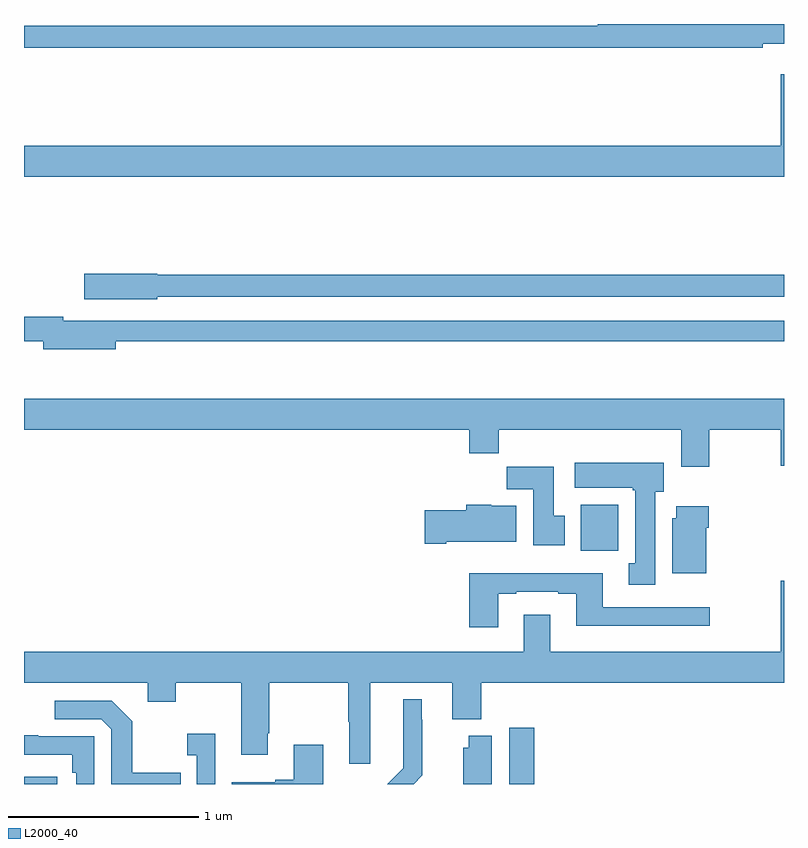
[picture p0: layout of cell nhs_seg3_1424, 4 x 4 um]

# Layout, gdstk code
import gdstk
lib = gdstk.Library(unit=1e-6, precision=1e-09)
def R(c, l, rs):  # rectangles x0, y0, x1, y1
    for r in rs: c.add(gdstk.rectangle(r[:2], r[2:], *l))
def P(c, l, *ps):  # polygons
    for p in ps: c.add(gdstk.Polygon(p, *l))
L2000_40 = (2000, 40)

nhs_seg3_1424 = lib.new_cell('nhs_seg3_1424')
R(nhs_seg3_1424, L2000_40, [(185,684.4,185.176,684.438), (187.553,684.4,187.685,684.697), (187.931,685.628,188.128,685.87)])
P(nhs_seg3_1424, L2000_40, [(188.888,688.295),(189,688.295),(189,688.4),(188.02,688.4),(188.02,688.392),(185,688.392),(185,688.276),(188.888,688.276)],
  [(189,688.135),(188.984,688.135),(188.984,687.76),(185,687.76),(185,687.596),(189,687.596)],
  [(185.7,686.964),(189,686.964),(189,687.08),(185.7,687.08),(185.7,687.086),(185.316,687.086),(185.316,686.951),(185.7,686.951)],
  [(185.482,686.73),(189,686.73),(189,686.838),(185.206,686.838),(185.206,686.858),(185,686.858),(185,686.73),(185.102,686.73),(185.102,686.687),(185.482,686.687)],
  [(185,686.264),(187.343,686.264),(187.343,686.14),(187.499,686.14),(187.499,686.264),(188.459,686.264),(188.459,686.07),(188.607,686.07),(188.607,686.264),(188.984,686.264),(188.984,686.076),(189,686.076),(189,686.428),(185,686.428)],
  [(188.323,685.938),(188.368,685.938),(188.368,686.092),(187.899,686.092),(187.899,685.958),(188.203,685.958),(188.203,685.945),(188.216,685.945),(188.216,685.562),(188.183,685.562),(188.183,685.449),(188.323,685.449)],
  [(187.846,685.812),(187.789,685.812),(187.789,686.071),(187.54,686.071),(187.54,685.952),(187.679,685.952),(187.679,685.656),(187.846,685.656)],
  [(187.222,685.676),(187.591,685.676),(187.591,685.864),(187.458,685.864),(187.458,685.87),(187.328,685.87),(187.328,685.842),(187.11,685.842),(187.11,685.664),(187.222,685.664)],
  [(188.59,685.748),(188.603,685.748),(188.603,685.861),(188.432,685.861),(188.432,685.8),(188.411,685.8),(188.411,685.508),(188.59,685.508)],
  [(187.495,685.401),(187.591,685.401),(187.591,685.413),(187.811,685.413),(187.811,685.401),(187.907,685.401),(187.907,685.232),(188.608,685.232),(188.608,685.329),(188.047,685.329),(188.047,685.51),(187.343,685.51),(187.343,685.224),(187.495,685.224)],
  [(186.823,684.932),(187.253,684.932),(187.253,684.74),(187.406,684.74),(187.406,684.932),(189,684.932),(189,685.471),(188.984,685.471),(188.984,685.096),(187.771,685.096),(187.771,685.291),(187.631,685.291),(187.631,685.096),(185,685.096),(185,684.932),(185.651,684.932),(185.651,684.833),(185.799,684.833),(185.799,684.932),(186.143,684.932),(186.143,684.555),(186.283,684.555),(186.283,684.667),(186.291,684.667),(186.291,684.932),(186.706,684.932),(186.706,684.728),(186.713,684.728),(186.713,684.507),(186.823,684.507)],
  [(187.097,684.446),(187.097,684.737),(187.093,684.737),(187.093,684.847),(186.995,684.847),(186.995,684.586),(186.996,684.586),(186.996,684.484),(186.912,684.4),(187.051,684.4)],
  [(185.825,684.459),(185.569,684.459),(185.569,684.731),(185.463,684.837),(185.163,684.837),(185.163,684.741),(185.406,684.741),(185.46,684.687),(185.46,684.4),(185.825,684.4)],
  [(186.006,684.664),(185.859,684.664),(185.859,684.551),(185.91,684.551),(185.91,684.4),(186.006,684.4)],
  [(185.37,684.651),(185.075,684.651),(185.075,684.656),(185,684.656),(185,684.555),(185.254,684.555),(185.254,684.458),(185.274,684.458),(185.274,684.4),(185.37,684.4)],
  [(187.462,684.655),(187.34,684.655),(187.34,684.591),(187.313,684.591),(187.313,684.4),(187.462,684.4)],
  [(186.574,684.607),(186.419,684.607),(186.419,684.422),(186.323,684.422),(186.323,684.409),(186.093,684.409),(186.093,684.4),(186.574,684.4)])

lib.write_gds('nhs_seg3_1424.gds')
